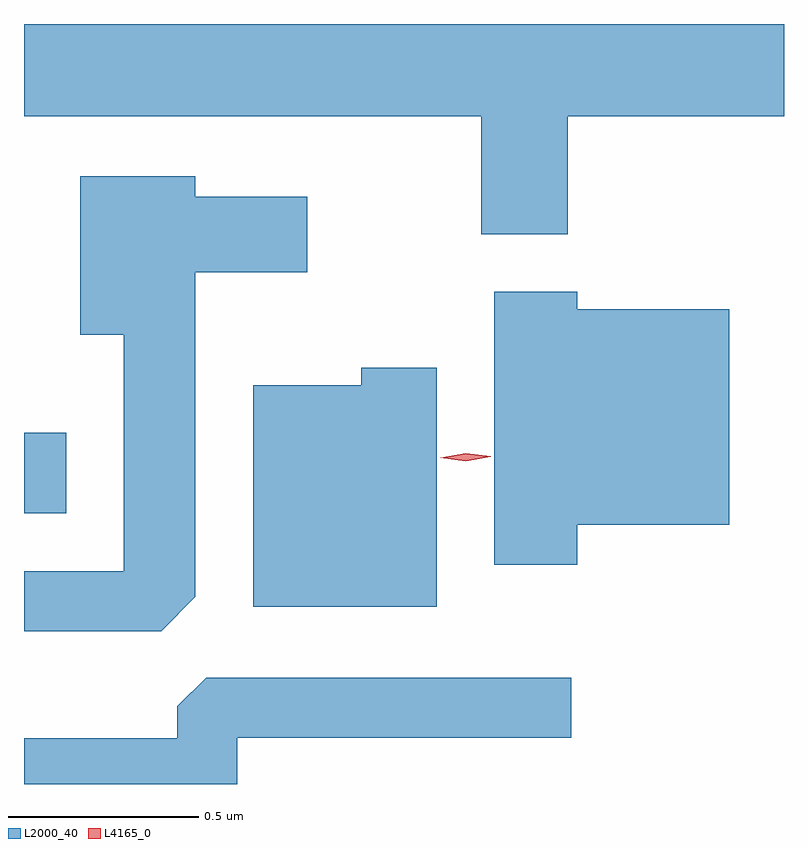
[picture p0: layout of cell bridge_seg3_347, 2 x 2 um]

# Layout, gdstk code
import gdstk
lib = gdstk.Library(unit=1e-6, precision=1e-09)
def R(c, l, rs):  # rectangles x0, y0, x1, y1
    for r in rs: c.add(gdstk.rectangle(r[:2], r[2:], *l))
def P(c, l, *ps):  # polygons
    for p in ps: c.add(gdstk.Polygon(p, *l))
L2000_40 = (2000, 40)
L4165_0 = (4165, 0)

bridge_seg3_347 = lib.new_cell('bridge_seg3_347')
R(bridge_seg3_347, L2000_40, [(538.898,1118.311,539.009,1118.524)])
P(bridge_seg3_347, L2000_40, [(540.329,1119.356),(540.898,1119.356),(540.898,1119.599),(538.898,1119.599),(538.898,1119.356),(540.101,1119.356),(540.101,1119.046),(540.329,1119.046)],
  [(539.349,1118.092),(539.349,1118.946),(539.644,1118.946),(539.644,1119.144),(539.349,1119.144),(539.349,1119.199),(539.046,1119.199),(539.046,1118.781),(539.161,1118.781),(539.161,1118.159),(538.898,1118.159),(538.898,1118.001),(539.259,1118.001)],
  [(540.354,1118.281),(540.754,1118.281),(540.754,1118.849),(540.354,1118.849),(540.354,1118.894),(540.136,1118.894),(540.136,1118.176),(540.354,1118.176)],
  [(539.984,1118.694),(539.786,1118.694),(539.786,1118.649),(539.501,1118.649),(539.501,1118.066),(539.984,1118.066)],
  [(539.459,1117.721),(540.338,1117.721),(540.338,1117.879),(539.377,1117.879),(539.301,1117.804),(539.301,1117.719),(538.898,1117.719),(538.898,1117.599),(539.459,1117.599)])
P(bridge_seg3_347, L4165_0, [(540.06,1118.449),(539.994,1118.457),(539.993,1118.458),(539.994,1118.458),(540.06,1118.469),(540.126,1118.461),(540.126,1118.46),(540.126,1118.46)])

lib.write_gds('bridge_seg3_347.gds')
